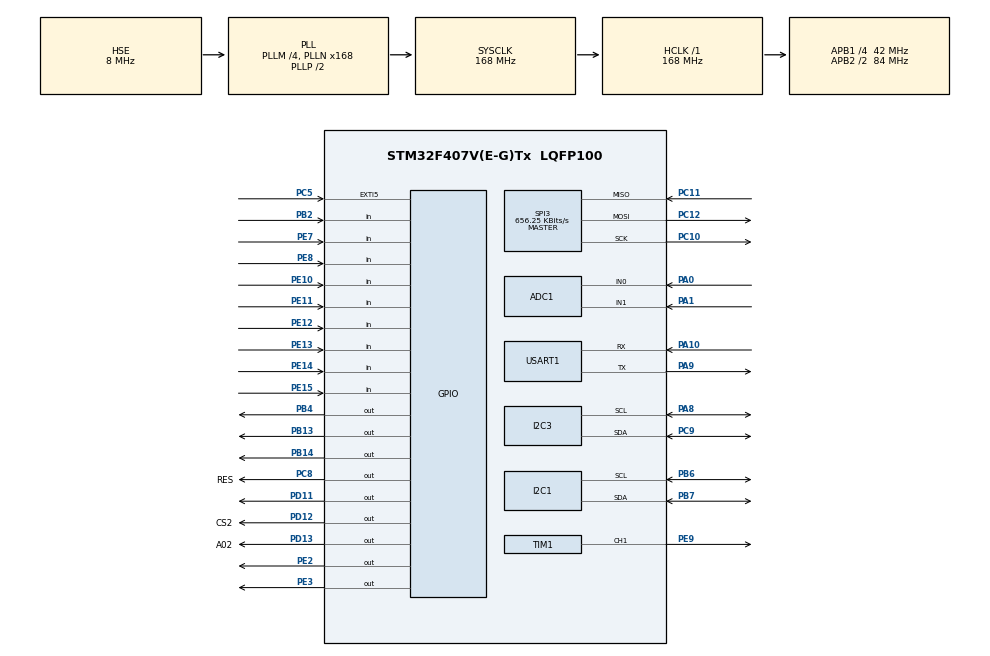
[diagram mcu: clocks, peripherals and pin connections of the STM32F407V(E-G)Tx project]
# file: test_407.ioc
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ADC1.Channel-0\#ChannelRegularConversion=ADC_CHANNEL_0
ADC1.Channel-1\#ChannelRegularConversion=ADC_CHANNEL_1
ADC1.NbrOfConversion=2
ADC1.NbrOfConversionFlag=1
ADC1.Rank-0\#ChannelRegularConversion=1
ADC1.Rank-1\#ChannelRegularConversion=2
ADC1.SamplingTime-0\#ChannelRegularConversion=ADC_SAMPLETIME_3CYCLES
ADC1.SamplingTime-1\#ChannelRegularConversion=ADC_SAMPLETIME_3CYCLES
ADC1.master=1
Mcu.Family=STM32F4
Mcu.Name=STM32F407V(E-G)Tx
Mcu.Package=LQFP100
NVIC.EXTI9_5_IRQn=true\:0\:0\:false\:false\:true\:true\:true\:true
NVIC.PriorityGroup=NVIC_PRIORITYGROUP_4
NVIC.RTC_WKUP_IRQn=true\:0\:0\:false\:false\:true\:true\:true\:true
NVIC.TIM3_IRQn=true\:0\:0\:false\:false\:true\:true\:true\:true
NVIC.USART1_IRQn=true\:0\:0\:false\:false\:true\:true\:true\:true
PA0-WKUP.Signal=ADCx_IN0
PA1.Signal=ADCx_IN1
PA10.Mode=Asynchronous
PA10.Signal=USART1_RX
PA13.Mode=Serial_Wire
PA13.Signal=SYS_JTMS-SWDIO
PA14.Mode=Serial_Wire
PA14.Signal=SYS_JTCK-SWCLK
PA8.Mode=I2C
PA8.Signal=I2C3_SCL
PA9.Mode=Asynchronous
PA9.Signal=USART1_TX
PB13.Signal=GPIO_Output
PB14.Signal=GPIO_Output
PB2.Signal=GPIO_Input
PB4.Signal=GPIO_Output
PB6.Mode=I2C
PB6.Signal=I2C1_SCL
PB7.Mode=I2C
PB7.Signal=I2C1_SDA
PC10.Mode=Full_Duplex_Master
PC10.Signal=SPI3_SCK
PC11.Mode=Full_Duplex_Master
PC11.Signal=SPI3_MISO
PC12.Mode=Full_Duplex_Master
PC12.Signal=SPI3_MOSI
PC5.Signal=GPXTI5
PC8.GPIO_Label=RES
PC8.Signal=GPIO_Output
PC9.Mode=I2C
PC9.Signal=I2C3_SDA
PD11.Signal=GPIO_Output
PD12.GPIO_Label=CS2
PD12.Signal=GPIO_Output
PD13.GPIO_Label=A02
PD13.Signal=GPIO_Output
PE10.Signal=GPIO_Input
PE11.Signal=GPIO_Input
PE12.Signal=GPIO_Input
PE13.Signal=GPIO_Input
PE14.Signal=GPIO_Input
PE15.Signal=GPIO_Input
PE2.Signal=GPIO_Output
PE3.Signal=GPIO_Output
PE7.Signal=GPIO_Input
PE8.Signal=GPIO_Input
PE9.Signal=S_TIM1_CH1
PH0-OSC_IN.Mode=HSE-External-Oscillator
PH0-OSC_IN.Signal=RCC_OSC_IN
PH1-OSC_OUT.Mode=HSE-External-Oscillator
PH1-OSC_OUT.Signal=RCC_OSC_OUT
ProjectManager.HeapSize=0x200
ProjectManager.StackSize=0x400
ProjectManager.TargetToolchain=MDK-ARM V5.32
RCC.48MHZClocksFreq_Value=84000000
RCC.AHBFreq_Value=168000000
RCC.APB1CLKDivider=RCC_HCLK_DIV4
RCC.APB1Freq_Value=42000000
RCC.APB1TimFreq_Value=84000000
RCC.APB2CLKDivider=RCC_HCLK_DIV2
RCC.APB2Freq_Value=84000000
RCC.APB2TimFreq_Value=168000000
RCC.CortexFreq_Value=168000000
RCC.HCLKFreq_Value=168000000
RCC.HSE_VALUE=8000000
RCC.HSI_VALUE=16000000
RCC.PLLM=4
RCC.PLLN=168
RCC.PLLSourceVirtual=RCC_PLLSOURCE_HSE
RCC.SYSCLKFreq_VALUE=168000000
RCC.SYSCLKSource=RCC_SYSCLKSOURCE_PLLCLK
RCC.VCOOutputFreq_Value=336000000
RTC.AsynchPrediv=127
SH.ADCx_IN0.0=ADC1_IN0,IN0
SH.ADCx_IN1.0=ADC1_IN1,IN1
SH.S_TIM1_CH1.0=TIM1_CH1,PWM Generation1 CH1
SPI3.BaudRatePrescaler=SPI_BAUDRATEPRESCALER_64
SPI3.CRCCalculation=SPI_CRCCALCULATION_DISABLE
SPI3.CalculateBaudRate=656.25 KBits/s
SPI3.Direction=SPI_DIRECTION_2LINES
SPI3.Mode=SPI_MODE_MASTER
SPI3.VirtualType=VM_MASTER
TIM1.Channel-PWM\ Generation1\ CH1=TIM_CHANNEL_1
TIM1.OCPolarity_1=TIM_OCPOLARITY_LOW
TIM1.Period=99
TIM1.Prescaler=167
TIM1.Pulse-PWM\ Generation1\ CH1=50
TIM3.Period=9
TIM3.Prescaler=167
USART1.VirtualMode=VM_ASYNC
VP_RTC_VS_RTC_Activate.Mode=RTC_Enabled
VP_RTC_VS_RTC_Calendar.Mode=RTC_Calendar
VP_RTC_VS_RTC_WakeUp_intern.Mode=WakeUp
VP_TIM1_VS_ClockSourceINT.Mode=Internal
VP_TIM3_VS_ClockSourceINT.Mode=Internal
board=custom

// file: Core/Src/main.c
/* USER CODE BEGIN Header */
/**
  ******************************************************************************
  * @file           : main.c
  * @brief          : Main program body
  ******************************************************************************
  * @attention
  *
  * Copyright (c) 2022 STMicroelectronics.
  * All rights reserved.
  *
  * This software is licensed under terms that can be found in the LICENSE file
  * in the root directory of this software component.
  * If no LICENSE file comes with this software, it is provided AS-IS.
  *
  ******************************************************************************
  */
/* USER CODE END Header */
#include "main.h"
#include "adc.h"
#include "i2c.h"
#include "rtc.h"
#include "spi.h"
#include "tim.h"
#include "usart.h"
#include "gpio.h"

/* USER CODE BEGIN Includes */
#include "oled.h"
//#include "key.h"
#include "stdlib.h"
#include "string.h"
#include "stdio.h"
#include "delay.h"
#include "gt30l32.h"
#include "menu.h"
#include "pid.h"
#include "stmflash.h"
#include "SHT30.h"
#include "sht30_i2c_drv.h"
/* USER CODE END Includes */

/* USER CODE BEGIN PTD */

const u8 TEXT_Buffer_1[]={" STM32 FLASH TEST_1"};//要写入到STM32 FLASH的字符串数组
const u8 TEXT_Buffer_2[]={"STM32 FLASH TEST_2"};//要写入到STM32 FLASH的字符串数组
#define SIZE sizeof(TEXT_Buffer_1)	 	//数组长度

float data[2];
/* USER CODE END PTD */

void SystemClock_Config(void);

int main(void)
{
  /* USER CODE BEGIN 1 */
    uint8_t Menu_options = 0,Menu_options_run = 0;
    uint8_t menu_set = 0;
    uint8_t cnt = 0,i=0;
    uint32_t ad_value[2];
    uint8_t strbuf[32];

    u8 len;
    u16 times=0;

    u8 datatemp[SIZE];  //Flash读取缓存数组
    u8 *p=datatemp;	    //数组指针

    uint8_t recv_dat[6] = {0};
    float temperature = 0.0;
    float humidity = 0.0;

    char tempstr[6] = {0};
    char humistr[6] = {0};

    uint8_t t = 0;
    uint8_t tbuf[40];
    RTC_DateTypeDef RTC_DateStruct;
    RTC_TimeTypeDef RTC_TimeStruct;

  /* USER CODE END 1 */

  /* MCU Configuration--------------------------------------------------------*/

  /* Reset of all peripherals, Initializes the Flash interface and the Systick. */
  HAL_Init();

  /* Configure the system clock */
  SystemClock_Config();

  /* Initialize all configured peripherals */
  MX_GPIO_Init();
  MX_I2C3_Init();
  MX_SPI3_Init();
  MX_ADC1_Init();
  MX_I2C1_Init();
  MX_TIM1_Init();
  MX_USART1_UART_Init();
  MX_TIM3_Init();
  MX_RTC_Init();
  /* USER CODE BEGIN 2 */
  delay_init(168);
  PID_init();
  OLED_Init();
//  SHT30_Init();
  HAL_TIM_PWM_Start(&htim1, TIM_CHANNEL_1);
  HAL_Delay(200);
  HAL_GPIO_WritePin(GPIOE,GPIO_PIN_3,GPIO_PIN_SET);
  HAL_GPIO_WritePin(GPIOE,GPIO_PIN_2,GPIO_PIN_SET);

  HAL_UART_Receive_IT(&huart1, (u8 *)aRxBuffer, RXBUFFERSIZE);

//  SHT30_reset();
//    if(SHT30_Init() == HAL_OK)
//        printf("sht30 init ok.\n");
//    else
//        printf("sht30 init fail.\n");
//  STMFLASH_Write(ADDR_FLASH_SECTOR_11,(uint32_t*)TEXT_Buffer_1,SIZE);//第一次写读
//  STMFLASH_Read(ADDR_FLASH_SECTOR_11,(uint32_t*)datatemp,SIZE);
////
//  OLED_ShowAscilString(0,4,p);

    RTC_TimeStruct.Hours = 20;
    HAL_RTC_SetTime(&hrtc, &RTC_TimeStruct, RTC_FORMAT_BIN);

  /* USER CODE END 2 */

  /* Infinite loop */
  /* USER CODE BEGIN WHILE */
  TIM1->CCR1 = 10;
//  Disp_Snow(0x55,0xaa);
  while (1)
  {

//      if(USART_RX_STA&0x8000)
//		{
//			len=USART_RX_STA&0x3fff;//得到此次接收到的数据长度
//            ReceiveData = USARTBufferToD_data(USART_RX_BUF);
//            printf("PMTSP:%d",ReceiveData.PMTSP);
////			HAL_UART_Transmit(&huart1,(uint8_t *)USART_RX_BUF,len,1000);	//发送接收到的数据
////			while(__HAL_UART_GET_FLAG(&huart1,UART_FLAG_TC)!=SET);		//等待发送结束
//			USART_RX_STA=0;
//		}
//    for(i=0;i<2;i++)
//    {
//        ad_value[i]=ADC_Get_Average(i,10);
//    }
//
//    sprintf(strbuf,"adc0:%d;adc1:%d;       ",ad_value[0],ad_value[1]);
//    OLED_ShowAscilString(0,0,strbuf);
//    ad_value[1] = PID_realize(3600,ad_value[0]);
//    TIM1->CCR1 = 10;
//    sprintf(strbuf,"PID:%d       ",ad_value[1]);
//    OLED_ShowAscilString(0,2,strbuf);
//    HAL_Delay(500);
//
//    if(SHT30_Read_Dat(recv_dat) == HAL_OK)
//		{
//			if(SHT30_Dat_To_Float(recv_dat, &temperature, &humidity)==0)
//			{
//				printf("temperature = %f, humidity = %f\n", temperature, humidity);
//			}
//			else
//			{
//				printf("crc check fail.\n");
//			}
//		}
//		else
//		{
//			printf("read data from sht30 fail.\n");
//		}

//    HAL_RTC_GetTime(&hrtc,&RTC_TimeStruct,RTC_FORMAT_BIN);
//    printf("Time:%02d:%02d:%02d",RTC_TimeStruct.Hours,RTC_TimeStruct.Minutes,RTC_TimeStruct.Seconds);
//    HAL_RTC_GetDate(&hrtc,&RTC_DateStruct,RTC_FORMAT_BIN);
//    printf("Date:20%02d-%02d-%02d",RTC_DateStruct.Year,RTC_DateStruct.Month,RTC_DateStruct.Date);
//    printf("Week:%d\r\n",RTC_DateStruct.WeekDay);
      menu_run();
//    sprintf(strbuf,"KEY_NUM:%d",key);
//    OLED_ShowAscilString(0,6,strbuf);

    /* USER CODE END WHILE */

  }
}

void SystemClock_Config(void)
{
  RCC_OscInitTypeDef RCC_OscInitStruct = {0};
  RCC_ClkInitTypeDef RCC_ClkInitStruct = {0};

  /** Configure the main internal regulator output voltage
  */
  __HAL_RCC_PWR_CLK_ENABLE();
  __HAL_PWR_VOLTAGESCALING_CONFIG(PWR_REGULATOR_VOLTAGE_SCALE1);

  /** Initializes the RCC Oscillators according to the specified parameters
  * in the RCC_OscInitTypeDef structure.
  */
  RCC_OscInitStruct.OscillatorType = RCC_OSCILLATORTYPE_LSI|RCC_OSCILLATORTYPE_HSE;
  RCC_OscInitStruct.HSEState = RCC_HSE_ON;
  RCC_OscInitStruct.LSIState = RCC_LSI_ON;
  RCC_OscInitStruct.PLL.PLLState = RCC_PLL_ON;
  RCC_OscInitStruct.PLL.PLLSource = RCC_PLLSOURCE_HSE;
  RCC_OscInitStruct.PLL.PLLM = 4;
  RCC_OscInitStruct.PLL.PLLN = 168;
  RCC_OscInitStruct.PLL.PLLP = RCC_PLLP_DIV2;
  RCC_OscInitStruct.PLL.PLLQ = 4;
  if (HAL_RCC_OscConfig(&RCC_OscInitStruct) != HAL_OK)
  {
    Error_Handler();
  }

  /** Initializes the CPU, AHB and APB buses clocks
  */
  RCC_ClkInitStruct.ClockType = RCC_CLOCKTYPE_HCLK|RCC_CLOCKTYPE_SYSCLK
                              |RCC_CLOCKTYPE_PCLK1|RCC_CLOCKTYPE_PCLK2;
  RCC_ClkInitStruct.SYSCLKSource = RCC_SYSCLKSOURCE_PLLCLK;
  RCC_ClkInitStruct.AHBCLKDivider = RCC_SYSCLK_DIV1;
  RCC_ClkInitStruct.APB1CLKDivider = RCC_HCLK_DIV4;
  RCC_ClkInitStruct.APB2CLKDivider = RCC_HCLK_DIV2;

  if (HAL_RCC_ClockConfig(&RCC_ClkInitStruct, FLASH_LATENCY_5) != HAL_OK)
  {
    Error_Handler();
  }
}

/* USER CODE BEGIN 4 */
void HAL_GPIO_EXTI_Callback(uint16_t GPIO_Pin)
{
    if(GPIO_Pin == GPIO_PIN_5)
    {

    }
}
/* USER CODE END 4 */

void Error_Handler(void)
{
  __disable_irq();
  while (1)
  {
  }
}
